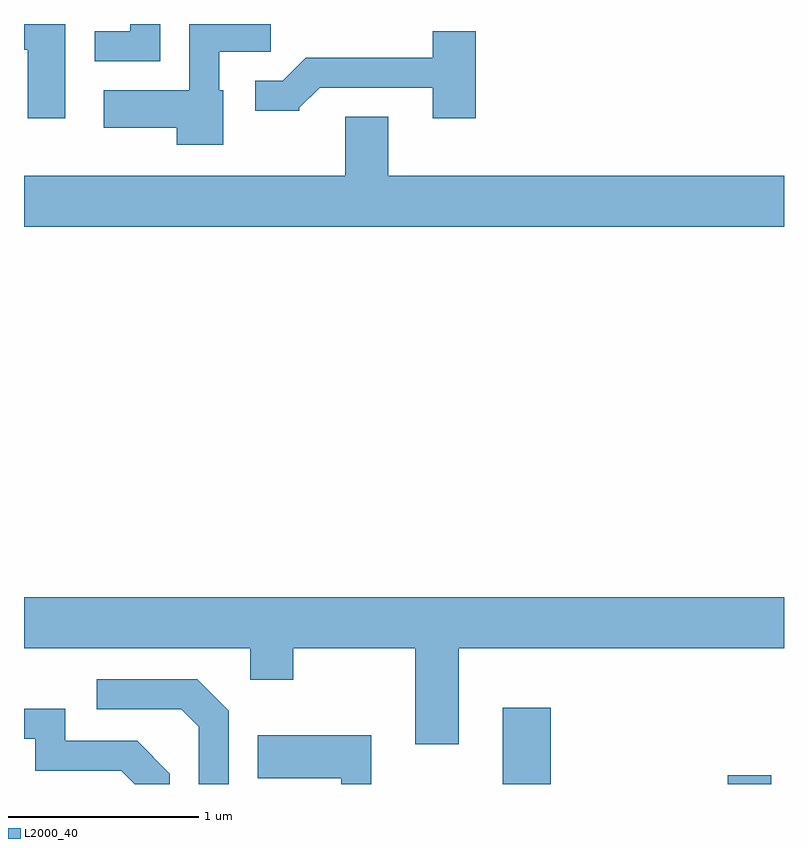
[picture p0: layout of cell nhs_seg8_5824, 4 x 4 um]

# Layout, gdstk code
import gdstk
lib = gdstk.Library(unit=1e-6, precision=1e-09)
def R(c, l, rs):  # rectangles x0, y0, x1, y1
    for r in rs: c.add(gdstk.rectangle(r[:2], r[2:], *l))
def P(c, l, *ps):  # polygons
    for p in ps: c.add(gdstk.Polygon(p, *l))
L2000_40 = (2000, 40)

nhs_seg8_5824 = lib.new_cell('nhs_seg8_5824')
R(nhs_seg8_5824, L2000_40, [(362.131,1862.342,362.384,1862.744), (363.316,1862.342,363.544,1862.389)])
P(nhs_seg8_5824, L2000_40, [(360.659,1865.994),(360.639,1865.994),(360.639,1866.196),(360.909,1866.196),(360.909,1866.342),(360.481,1866.342),(360.481,1865.994),(360.031,1865.994),(360.031,1865.796),(360.416,1865.796),(360.416,1865.706),(360.659,1865.706)],
  [(360.329,1866.342),(360.171,1866.342),(360.171,1866.304),(359.983,1866.304),(359.983,1866.146),(360.329,1866.146)],
  [(359.829,1866.342),(359.611,1866.342),(359.611,1866.206),(359.631,1866.206),(359.631,1865.846),(359.829,1865.846)],
  [(361.989,1866.304),(361.761,1866.304),(361.761,1866.164),(361.094,1866.164),(360.974,1866.044),(360.828,1866.044),(360.828,1865.886),(361.06,1865.886),(361.06,1865.9),(361.167,1866.006),(361.761,1866.006),(361.761,1865.846),(361.989,1865.846)],
  [(363.611,1865.544),(361.529,1865.544),(361.529,1865.854),(361.301,1865.854),(361.301,1865.544),(359.611,1865.544),(359.611,1865.276),(363.611,1865.276)],
  [(361.899,1863.056),(363.611,1863.056),(363.611,1863.324),(359.611,1863.324),(359.611,1863.056),(360.801,1863.056),(360.801,1862.891),(361.029,1862.891),(361.029,1863.056),(361.671,1863.056),(361.671,1862.551),(361.899,1862.551)],
  [(360.689,1862.727),(360.522,1862.894),(359.993,1862.894),(359.993,1862.736),(360.439,1862.736),(360.531,1862.644),(360.531,1862.342),(360.689,1862.342)],
  [(360.379,1862.397),(360.207,1862.569),(359.829,1862.569),(359.829,1862.739),(359.611,1862.739),(359.611,1862.581),(359.671,1862.581),(359.671,1862.411),(360.124,1862.411),(360.193,1862.342),(360.379,1862.342)],
  [(361.439,1862.599),(360.841,1862.599),(360.841,1862.371),(361.281,1862.371),(361.281,1862.342),(361.439,1862.342)])

lib.write_gds('nhs_seg8_5824.gds')
